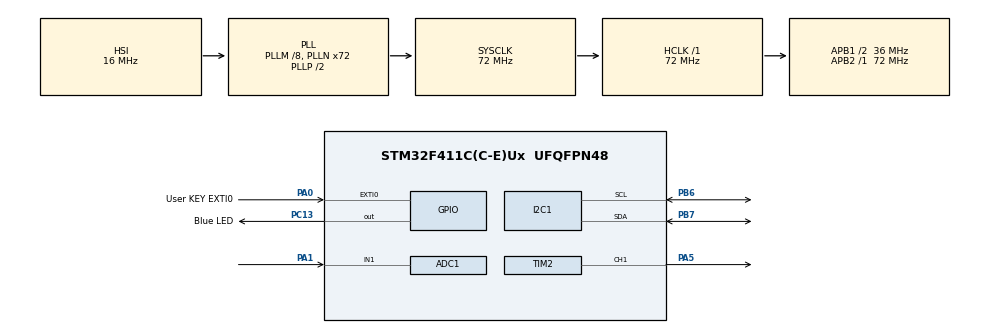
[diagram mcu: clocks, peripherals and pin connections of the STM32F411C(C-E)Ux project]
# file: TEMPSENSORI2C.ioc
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ADC1.Channel-0\#ChannelRegularConversion=ADC_CHANNEL_1
ADC1.Channel-1\#ChannelRegularConversion=ADC_CHANNEL_TEMPSENSOR
ADC1.Channel-2\#ChannelRegularConversion=ADC_CHANNEL_VREFINT
ADC1.ClockPrescaler=ADC_CLOCK_SYNC_PCLK_DIV6
ADC1.DMAContinuousRequests=ENABLE
ADC1.NbrOfConversion=3
ADC1.NbrOfConversionFlag=1
ADC1.Rank-0\#ChannelRegularConversion=1
ADC1.Rank-1\#ChannelRegularConversion=2
ADC1.Rank-2\#ChannelRegularConversion=3
ADC1.SamplingTime-0\#ChannelRegularConversion=ADC_SAMPLETIME_112CYCLES
ADC1.SamplingTime-1\#ChannelRegularConversion=ADC_SAMPLETIME_112CYCLES
ADC1.SamplingTime-2\#ChannelRegularConversion=ADC_SAMPLETIME_112CYCLES
ADC1.master=1
Dma.ADC1.0.Direction=DMA_PERIPH_TO_MEMORY
Dma.ADC1.0.FIFOMode=DMA_FIFOMODE_DISABLE
Dma.ADC1.0.Instance=DMA2_Stream0
Dma.ADC1.0.MemDataAlignment=DMA_MDATAALIGN_WORD
Dma.ADC1.0.MemInc=DMA_MINC_ENABLE
Dma.ADC1.0.Mode=DMA_CIRCULAR
Dma.ADC1.0.PeriphDataAlignment=DMA_PDATAALIGN_WORD
Dma.ADC1.0.PeriphInc=DMA_PINC_DISABLE
Dma.ADC1.0.Priority=DMA_PRIORITY_LOW
Dma.Request0=ADC1
I2C1.I2C_Mode=I2C_Fast
Mcu.Family=STM32F4
Mcu.Name=STM32F411C(C-E)Ux
Mcu.Package=UFQFPN48
NVIC.ADC_IRQn=true\:1\:0\:true\:false\:true\:true\:true\:true
NVIC.DMA2_Stream0_IRQn=true\:0\:0\:true\:false\:true\:true\:true\:true
NVIC.EXTI0_IRQn=true\:0\:0\:true\:false\:true\:true\:true\:true
NVIC.PriorityGroup=NVIC_PRIORITYGROUP_4
NVIC.TIM2_IRQn=true\:0\:0\:true\:false\:true\:true\:true\:true
PA0-WKUP.GPIO_Label=User KEY EXTI0
PA0-WKUP.GPIO_PuPd=GPIO_PULLUP
PA0-WKUP.Signal=GPXTI0
PA1.Signal=ADCx_IN1
PA13.Mode=Serial_Wire
PA13.Signal=SYS_JTMS-SWDIO
PA14.Mode=Serial_Wire
PA14.Signal=SYS_JTCK-SWCLK
PA5.Signal=S_TIM2_CH1_ETR
PB6.Mode=I2C
PB6.Signal=I2C1_SCL
PB7.Mode=I2C
PB7.Signal=I2C1_SDA
PC13-ANTI_TAMP.GPIO_Label=Blue LED
PC13-ANTI_TAMP.GPIO_ModeDefaultOutputPP=GPIO_MODE_OUTPUT_OD
PC13-ANTI_TAMP.GPIO_PuPd=GPIO_NOPULL
PC13-ANTI_TAMP.PinState=GPIO_PIN_SET
PC13-ANTI_TAMP.Signal=GPIO_Output
PC14-OSC32_IN.Mode=LSE-External-Oscillator
PC14-OSC32_IN.Signal=RCC_OSC32_IN
PC15-OSC32_OUT.Mode=LSE-External-Oscillator
PC15-OSC32_OUT.Signal=RCC_OSC32_OUT
PH0\ -\ OSC_IN.Mode=HSE-External-Oscillator
PH0\ -\ OSC_IN.Signal=RCC_OSC_IN
PH1\ -\ OSC_OUT.Mode=HSE-External-Oscillator
PH1\ -\ OSC_OUT.Signal=RCC_OSC_OUT
ProjectManager.HeapSize=0x200
ProjectManager.StackSize=0x400
ProjectManager.TargetToolchain=CMake
RCC.48MHZClocksFreq_Value=36000000
RCC.AHBFreq_Value=72000000
RCC.APB1CLKDivider=RCC_HCLK_DIV2
RCC.APB1Freq_Value=36000000
RCC.APB1TimFreq_Value=72000000
RCC.APB2Freq_Value=72000000
RCC.APB2TimFreq_Value=72000000
RCC.CortexFreq_Value=72000000
RCC.HCLKFreq_Value=72000000
RCC.HSE_VALUE=25000000
RCC.HSI_VALUE=16000000
RCC.PLLM=8
RCC.PLLN=72
RCC.SYSCLKFreq_VALUE=72000000
RCC.SYSCLKSource=RCC_SYSCLKSOURCE_PLLCLK
RCC.VCOOutputFreq_Value=144000000
SH.ADCx_IN1.0=ADC1_IN1,IN1
SH.S_TIM2_CH1_ETR.0=TIM2_CH1,PWM Generation1 CH1
TIM2.AutoReloadPreload=TIM_AUTORELOAD_PRELOAD_ENABLE
TIM2.Channel-PWM\ Generation1\ CH1=TIM_CHANNEL_1
TIM2.Period=4095
TIM2.Prescaler=175
VP_ADC1_TempSens_Input.Mode=IN-TempSens
VP_ADC1_Vref_Input.Mode=IN-Vrefint
VP_TIM2_VS_ClockSourceINT.Mode=Internal
board=custom

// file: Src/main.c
/* USER CODE BEGIN Header */
/**
  ******************************************************************************
  * @file           : main.c
  * @brief          : Main program body
  ******************************************************************************
  * @attention
  *
  * Copyright (c) 2026 STMicroelectronics.
  * All rights reserved.
  *
  * This software is licensed under terms that can be found in the LICENSE file
  * in the root directory of this software component.
  * If no LICENSE file comes with this software, it is provided AS-IS.
  *
  ******************************************************************************
  */
/* USER CODE END Header */
#include "main.h"

/* USER CODE BEGIN Includes */
#include <stdbool.h>
#include <stdio.h>
#include "ssd1306.h"
#include "ssd1306_fonts.h" // Include the fonts header file located at
#include "ssd1306_tests.h"
/* USER CODE END Includes */

/* USER CODE BEGIN PD */
#define AVG_SLOPE   2.5f     // mV/°C
#define V_AT_25C    0.76f    // Volts
#define V_REF_INT   1.21f    // Internal reference voltage
/* USER CODE END PD */

ADC_HandleTypeDef hadc1;
DMA_HandleTypeDef hdma_adc1;

I2C_HandleTypeDef hi2c1;

TIM_HandleTypeDef htim2;

/* USER CODE BEGIN PV */
bool BLUELED = 0;
uint32_t AD_RES_BUFFER[3];
uint16_t ADC1IN1,TEMPSENSOR,VREFINT;
float voltage1,v_ref,v_sense,temp;
/* USER CODE END PV */

void SystemClock_Config(void);
static void MX_GPIO_Init(void);
static void MX_DMA_Init(void);
static void MX_ADC1_Init(void);
static void MX_TIM2_Init(void);
static void MX_I2C1_Init(void);

/* USER CODE BEGIN 0 */
// char myText[] = "Hello, SSD1306!";
// char retVal;
/* USER CODE END 0 */

int main(void)
{

  /* MCU Configuration--------------------------------------------------------*/

  /* Reset of all peripherals, Initializes the Flash interface and the Systick. */
  HAL_Init();

  /* USER CODE BEGIN Init */

//char buffer[30];
//snprintf(buffer, sizeof(buffer), "Temp: %d.%02d", int_part, dec_part);
  /* USER CODE END Init */

  // Format temperature string
// snprintf(buffer, sizeof(buffer), "Temp: %.1f C", temperature);

  /* Configure the system clock */
  SystemClock_Config();

  /* Initialize all configured peripherals */
  MX_GPIO_Init();
  MX_DMA_Init();
  MX_ADC1_Init();
  MX_TIM2_Init();
  MX_I2C1_Init();
  /* USER CODE BEGIN 2 */
  HAL_TIM_PWM_Start_IT(&htim2,TIM_CHANNEL_1);

// Initialize
    ssd1306_Init();

  // Run tests
  // ssd1306_TestAll();

  // ssd1306_TestBorder();
  // ssd1306_TestFonts1();
  // ssd1306_TestFonts2();
  // ssd1306_TestFPS();
  // ssd1306_TestLine();
  // ssd1306_TestRectangle();
  // ssd1306_TestRectangleFill();
  // ssd1306_TestRectangleInvert();
  // ssd1306_TestCircle();
  // ssd1306_TestArc();
  // ssd1306_TestPolyline();
  // ssd1306_TestDrawBitmap();

  char line1[32];
char line2[32];
  /* USER CODE END 2 */

  /* Infinite loop */
  /* USER CODE BEGIN WHILE */
  while (1)
  {
    // Verify BLUELED Flag
    if (BLUELED)
      HAL_GPIO_WritePin(GPIOC, GPIO_PIN_13, GPIO_PIN_RESET); // LED ON
    else
      HAL_GPIO_WritePin(GPIOC, GPIO_PIN_13, GPIO_PIN_SET); // LED OFF
    /* USER CODE END WHILE */

    /* USER CODE BEGIN 3 */
    snprintf(line1, sizeof(line1), "Volt: %.2f V", voltage1);
    snprintf(line2, sizeof(line2), "Temp: %.1f C", temp);

    ssd1306_Fill(Black);

    ssd1306_SetCursor(0, 0);
    ssd1306_WriteString(line1, Font_7x10, White);

    ssd1306_SetCursor(0, 16);
    ssd1306_WriteString(line2, Font_7x10, White);

    ssd1306_UpdateScreen();

    HAL_Delay(200);
  }
  /* USER CODE END 3 */
}

void SystemClock_Config(void)
{
  RCC_OscInitTypeDef RCC_OscInitStruct = {0};
  RCC_ClkInitTypeDef RCC_ClkInitStruct = {0};

  /** Configure the main internal regulator output voltage
  */
  __HAL_RCC_PWR_CLK_ENABLE();
  __HAL_PWR_VOLTAGESCALING_CONFIG(PWR_REGULATOR_VOLTAGE_SCALE1);

  /** Initializes the RCC Oscillators according to the specified parameters
  * in the RCC_OscInitTypeDef structure.
  */
  RCC_OscInitStruct.OscillatorType = RCC_OSCILLATORTYPE_HSI;
  RCC_OscInitStruct.HSIState = RCC_HSI_ON;
  RCC_OscInitStruct.HSICalibrationValue = RCC_HSICALIBRATION_DEFAULT;
  RCC_OscInitStruct.PLL.PLLState = RCC_PLL_ON;
  RCC_OscInitStruct.PLL.PLLSource = RCC_PLLSOURCE_HSI;
  RCC_OscInitStruct.PLL.PLLM = 8;
  RCC_OscInitStruct.PLL.PLLN = 72;
  RCC_OscInitStruct.PLL.PLLP = RCC_PLLP_DIV2;
  RCC_OscInitStruct.PLL.PLLQ = 4;
  if (HAL_RCC_OscConfig(&RCC_OscInitStruct) != HAL_OK)
  {
    Error_Handler();
  }

  /** Initializes the CPU, AHB and APB buses clocks
  */
  RCC_ClkInitStruct.ClockType = RCC_CLOCKTYPE_HCLK|RCC_CLOCKTYPE_SYSCLK
                              |RCC_CLOCKTYPE_PCLK1|RCC_CLOCKTYPE_PCLK2;
  RCC_ClkInitStruct.SYSCLKSource = RCC_SYSCLKSOURCE_PLLCLK;
  RCC_ClkInitStruct.AHBCLKDivider = RCC_SYSCLK_DIV1;
  RCC_ClkInitStruct.APB1CLKDivider = RCC_HCLK_DIV2;
  RCC_ClkInitStruct.APB2CLKDivider = RCC_HCLK_DIV1;

  if (HAL_RCC_ClockConfig(&RCC_ClkInitStruct, FLASH_LATENCY_2) != HAL_OK)
  {
    Error_Handler();
  }
}

static void MX_ADC1_Init(void)
{

  ADC_ChannelConfTypeDef sConfig = {0};

  /** Configure the global features of the ADC (Clock, Resolution, Data Alignment and number of conversion)
  */
  hadc1.Instance = ADC1;
  hadc1.Init.ClockPrescaler = ADC_CLOCK_SYNC_PCLK_DIV6;
  hadc1.Init.Resolution = ADC_RESOLUTION_12B;
  hadc1.Init.ScanConvMode = ENABLE;
  hadc1.Init.ContinuousConvMode = DISABLE;
  hadc1.Init.DiscontinuousConvMode = DISABLE;
  hadc1.Init.ExternalTrigConvEdge = ADC_EXTERNALTRIGCONVEDGE_NONE;
  hadc1.Init.ExternalTrigConv = ADC_SOFTWARE_START;
  hadc1.Init.DataAlign = ADC_DATAALIGN_RIGHT;
  hadc1.Init.NbrOfConversion = 3;
  hadc1.Init.DMAContinuousRequests = ENABLE;
  hadc1.Init.EOCSelection = ADC_EOC_SINGLE_CONV;
  if (HAL_ADC_Init(&hadc1) != HAL_OK)
  {
    Error_Handler();
  }

  /** Configure for the selected ADC regular channel its corresponding rank in the sequencer and its sample time.
  */
  sConfig.Channel = ADC_CHANNEL_1;
  sConfig.Rank = 1;
  sConfig.SamplingTime = ADC_SAMPLETIME_112CYCLES;
  if (HAL_ADC_ConfigChannel(&hadc1, &sConfig) != HAL_OK)
  {
    Error_Handler();
  }

  /** Configure for the selected ADC regular channel its corresponding rank in the sequencer and its sample time.
  */
  sConfig.Channel = ADC_CHANNEL_TEMPSENSOR;
  sConfig.Rank = 2;
  if (HAL_ADC_ConfigChannel(&hadc1, &sConfig) != HAL_OK)
  {
    Error_Handler();
  }

  /** Configure for the selected ADC regular channel its corresponding rank in the sequencer and its sample time.
  */
  sConfig.Channel = ADC_CHANNEL_VREFINT;
  sConfig.Rank = 3;
  if (HAL_ADC_ConfigChannel(&hadc1, &sConfig) != HAL_OK)
  {
    Error_Handler();
  }

}

static void MX_I2C1_Init(void)
{

  hi2c1.Instance = I2C1;
  hi2c1.Init.ClockSpeed = 400000;
  hi2c1.Init.DutyCycle = I2C_DUTYCYCLE_2;
  hi2c1.Init.OwnAddress1 = 0;
  hi2c1.Init.AddressingMode = I2C_ADDRESSINGMODE_7BIT;
  hi2c1.Init.DualAddressMode = I2C_DUALADDRESS_DISABLE;
  hi2c1.Init.OwnAddress2 = 0;
  hi2c1.Init.GeneralCallMode = I2C_GENERALCALL_DISABLE;
  hi2c1.Init.NoStretchMode = I2C_NOSTRETCH_DISABLE;
  if (HAL_I2C_Init(&hi2c1) != HAL_OK)
  {
    Error_Handler();
  }

}

static void MX_TIM2_Init(void)
{

  TIM_ClockConfigTypeDef sClockSourceConfig = {0};
  TIM_MasterConfigTypeDef sMasterConfig = {0};
  TIM_OC_InitTypeDef sConfigOC = {0};

  htim2.Instance = TIM2;
  htim2.Init.Prescaler = 175;
  htim2.Init.CounterMode = TIM_COUNTERMODE_UP;
  htim2.Init.Period = 4095;
  htim2.Init.ClockDivision = TIM_CLOCKDIVISION_DIV1;
  htim2.Init.AutoReloadPreload = TIM_AUTORELOAD_PRELOAD_ENABLE;
  if (HAL_TIM_Base_Init(&htim2) != HAL_OK)
  {
    Error_Handler();
  }
  sClockSourceConfig.ClockSource = TIM_CLOCKSOURCE_INTERNAL;
  if (HAL_TIM_ConfigClockSource(&htim2, &sClockSourceConfig) != HAL_OK)
  {
    Error_Handler();
  }
  if (HAL_TIM_PWM_Init(&htim2) != HAL_OK)
  {
    Error_Handler();
  }
  sMasterConfig.MasterOutputTrigger = TIM_TRGO_RESET;
  sMasterConfig.MasterSlaveMode = TIM_MASTERSLAVEMODE_DISABLE;
  if (HAL_TIMEx_MasterConfigSynchronization(&htim2, &sMasterConfig) != HAL_OK)
  {
    Error_Handler();
  }
  sConfigOC.OCMode = TIM_OCMODE_PWM1;
  sConfigOC.Pulse = 0;
  sConfigOC.OCPolarity = TIM_OCPOLARITY_HIGH;
  sConfigOC.OCFastMode = TIM_OCFAST_DISABLE;
  if (HAL_TIM_PWM_ConfigChannel(&htim2, &sConfigOC, TIM_CHANNEL_1) != HAL_OK)
  {
    Error_Handler();
  }
  HAL_TIM_MspPostInit(&htim2);

}

static void MX_DMA_Init(void)
{

  /* DMA controller clock enable */
  __HAL_RCC_DMA2_CLK_ENABLE();

  /* DMA interrupt init */
  /* DMA2_Stream0_IRQn interrupt configuration */
  HAL_NVIC_SetPriority(DMA2_Stream0_IRQn, 0, 0);
  HAL_NVIC_EnableIRQ(DMA2_Stream0_IRQn);

}

static void MX_GPIO_Init(void)
{
  GPIO_InitTypeDef GPIO_InitStruct = {0};

  /* GPIO Ports Clock Enable */
  __HAL_RCC_GPIOC_CLK_ENABLE();
  __HAL_RCC_GPIOH_CLK_ENABLE();
  __HAL_RCC_GPIOA_CLK_ENABLE();
  __HAL_RCC_GPIOB_CLK_ENABLE();

  /*Configure GPIO pin Output Level */
  HAL_GPIO_WritePin(Blue_LED_GPIO_Port, Blue_LED_Pin, GPIO_PIN_SET);

  /*Configure GPIO pin : Blue_LED_Pin */
  GPIO_InitStruct.Pin = Blue_LED_Pin;
  GPIO_InitStruct.Mode = GPIO_MODE_OUTPUT_OD;
  GPIO_InitStruct.Pull = GPIO_NOPULL;
  GPIO_InitStruct.Speed = GPIO_SPEED_FREQ_LOW;
  HAL_GPIO_Init(Blue_LED_GPIO_Port, &GPIO_InitStruct);

  /*Configure GPIO pin : User_KEY_EXTI0_Pin */
  GPIO_InitStruct.Pin = User_KEY_EXTI0_Pin;
  GPIO_InitStruct.Mode = GPIO_MODE_IT_RISING;
  GPIO_InitStruct.Pull = GPIO_PULLUP;
  HAL_GPIO_Init(User_KEY_EXTI0_GPIO_Port, &GPIO_InitStruct);

  /* EXTI interrupt init*/
  HAL_NVIC_SetPriority(EXTI0_IRQn, 0, 0);
  HAL_NVIC_EnableIRQ(EXTI0_IRQn);

}

void Error_Handler(void)
{
  __disable_irq();
  while (1)
  {
  }
}
